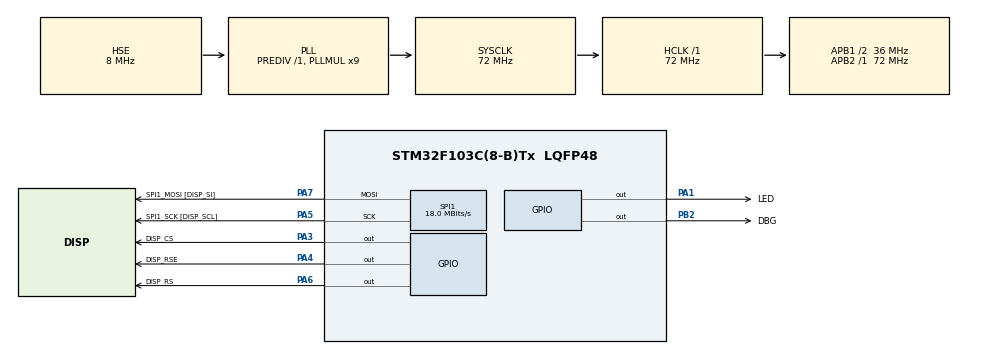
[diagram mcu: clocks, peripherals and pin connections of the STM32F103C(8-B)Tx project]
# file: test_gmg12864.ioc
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Dma.Request0=SPI1_TX
Dma.SPI1_TX.0.Direction=DMA_MEMORY_TO_PERIPH
Dma.SPI1_TX.0.Instance=DMA1_Channel3
Dma.SPI1_TX.0.MemDataAlignment=DMA_MDATAALIGN_BYTE
Dma.SPI1_TX.0.MemInc=DMA_MINC_ENABLE
Dma.SPI1_TX.0.Mode=DMA_NORMAL
Dma.SPI1_TX.0.PeriphDataAlignment=DMA_PDATAALIGN_BYTE
Dma.SPI1_TX.0.PeriphInc=DMA_PINC_DISABLE
Dma.SPI1_TX.0.Priority=DMA_PRIORITY_LOW
Mcu.Family=STM32F1
Mcu.Name=STM32F103C(8-B)Tx
Mcu.Package=LQFP48
NVIC.DMA1_Channel3_IRQn=true\:0\:0\:false\:false\:true\:false\:true\:true
NVIC.PriorityGroup=NVIC_PRIORITYGROUP_4
PA1.GPIO_Label=LED
PA1.Signal=GPIO_Output
PA13.Mode=Serial_Wire
PA13.Signal=SYS_JTMS-SWDIO
PA14.Mode=Serial_Wire
PA14.Signal=SYS_JTCK-SWCLK
PA3.GPIO_Label=DISP_CS
PA3.Signal=GPIO_Output
PA4.GPIO_Label=DISP_RSE
PA4.Signal=GPIO_Output
PA5.GPIO_Label=SPI1_SCK [DISP_SCL]
PA5.Mode=TX_Only_Simplex_Unidirect_Master
PA5.Signal=SPI1_SCK
PA6.GPIO_Label=DISP_RS
PA6.Signal=GPIO_Output
PA7.GPIO_Label=SPI1_MOSI [DISP_SI]
PA7.Mode=TX_Only_Simplex_Unidirect_Master
PA7.Signal=SPI1_MOSI
PB2.GPIO_Label=DBG
PB2.Signal=GPIO_Output
PD0-OSC_IN.Mode=HSE-External-Oscillator
PD0-OSC_IN.Signal=RCC_OSC_IN
PD1-OSC_OUT.Mode=HSE-External-Oscillator
PD1-OSC_OUT.Signal=RCC_OSC_OUT
ProjectManager.HeapSize=0x200
ProjectManager.StackSize=0x400
ProjectManager.TargetToolchain=Makefile
RCC.AHBFreq_Value=72000000
RCC.APB1CLKDivider=RCC_HCLK_DIV2
RCC.APB1Freq_Value=36000000
RCC.APB1TimFreq_Value=72000000
RCC.APB2Freq_Value=72000000
RCC.APB2TimFreq_Value=72000000
RCC.HCLKFreq_Value=72000000
RCC.PLLMUL=RCC_PLL_MUL9
RCC.PLLSourceVirtual=RCC_PLLSOURCE_HSE
RCC.SYSCLKFreq_VALUE=72000000
RCC.SYSCLKSource=RCC_SYSCLKSOURCE_PLLCLK
RCC.USBFreq_Value=72000000
SPI1.BaudRatePrescaler=SPI_BAUDRATEPRESCALER_4
SPI1.CalculateBaudRate=18.0 MBits/s
SPI1.Direction=SPI_DIRECTION_2LINES
SPI1.Mode=SPI_MODE_MASTER
SPI1.VirtualType=VM_MASTER
TIM1.Period=65535
TIM1.Prescaler=15
VP_TIM1_VS_ClockSourceINT.Mode=Internal
board=custom

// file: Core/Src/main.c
/* USER CODE BEGIN Header */
/**
  ******************************************************************************
  * @file           : main.c
  * @brief          : Main program body
  ******************************************************************************
  * @attention
  *
  * Copyright (c) 2022 STMicroelectronics.
  * All rights reserved.
  *
  * This software is licensed under terms that can be found in the LICENSE file
  * in the root directory of this software component.
  * If no LICENSE file comes with this software, it is provided AS-IS.
  *
  ******************************************************************************
  */
/* USER CODE END Header */
#include "main.h"
#include "dma.h"
#include "spi.h"
#include "tim.h"
#include "gpio.h"

/* USER CODE BEGIN Includes */
#include <stdio.h>
#include <stdlib.h>
#include <stdbool.h>
#include <string.h>

#include "display_gmg12864.h"
#include "disp_draw.h"

/* USER CODE END Includes */

/* USER CODE BEGIN PTD */
typedef struct dt_t {
  uint16_t tmr_bfr[8];
  uint32_t fps;
} dt_t;
/* USER CODE END PTD */

void SystemClock_Config(void);
/* USER CODE BEGIN PFP */
static uint8_t disp_bfr[DISP_WIDTH * DISP_HEIGHT / 8];
static dt_t dt;

uint32_t timer_until(uint32_t *timer, uint32_t period_ms)
{
  uint32_t timer_1ms = HAL_GetTick();
  return (timer_1ms - *timer >= period_ms) ? (*timer = timer_1ms) : 0;
}

uint16_t timer_us_reset(void)
{
  uint16_t result = TIM1->CNT;
  TIM1->CNT = 0;
  return result;
}

static void disp_write_spi_cb(uint8_t * bfr, uint16_t length)
{
  HAL_GPIO_WritePin(DISP_CS_GPIO_Port, DISP_CS_Pin, GPIO_PIN_RESET);
  HAL_SPI_Transmit(&hspi1, bfr, length, 1000);
  HAL_GPIO_WritePin(DISP_CS_GPIO_Port, DISP_CS_Pin, GPIO_PIN_SET);
}

static void disp_set_pin_cb(display_gmg12864_pins_t * pins)
{
  GPIO_PinState states[] = {GPIO_PIN_RESET, GPIO_PIN_SET};
  HAL_GPIO_WritePin(DISP_RSE_GPIO_Port, DISP_RSE_Pin, states[pins->pin_reset] );
  HAL_GPIO_WritePin(DISP_RS_GPIO_Port, DISP_RS_Pin, states[pins->pin_data_cmd] );
}

#define clear_disp_bfr(X) memset(X,0,sizeof(disp_bfr))
static void update_disp_bfr(uint8_t * bfr, dt_t *dt)
{
  clear_disp_bfr(bfr);

  static int x=DISP_WIDTH/2, y=DISP_HEIGHT/2, dx=1, dy=1, r_circle=10;
  x+=dx; y+=dy;
  if (x>=DISP_WIDTH-r_circle-1 || x<=r_circle) dx=-dx;
  if (y>=DISP_HEIGHT-r_circle-1 || y<=r_circle) dy=-dy;
  for (int r=1; r<r_circle; r++)
    disp_draw_circle(disp_bfr, x, y, r);

  static char str[16] = {0}, cnt;
  sprintf(str,"fps=%d", dt->fps);
  disp_draw_str_simple(disp_bfr, str, strlen(str), 0, 0);

  if (cnt++ & 1) disp_draw_pixel(disp_bfr, DISP_WIDTH-1, DISP_HEIGHT-1);
}

/* USER CODE END PFP */

int main(void)
{

  /* MCU Configuration--------------------------------------------------------*/

  /* Reset of all peripherals, Initializes the Flash interface and the Systick. */
  HAL_Init();

  /* Configure the system clock */
  SystemClock_Config();

  /* Initialize all configured peripherals */
  MX_GPIO_Init();
  MX_DMA_Init();
  MX_SPI1_Init();
  MX_TIM1_Init();
  /* USER CODE BEGIN 2 */
  uint16_t pre = (HAL_RCC_GetHCLKFreq() / 1000000UL)-1;
  __HAL_TIM_SET_PRESCALER(&htim1, pre);
  HAL_TIM_Base_Start(&htim1);

  static display_gmg12864_t disp_drv = {
    .delay_ms_cb = HAL_Delay,
    .write_spi_cb = disp_write_spi_cb,
    .set_display_pin_cb = disp_set_pin_cb,
    .bfr = disp_bfr,
    .bfr_size = sizeof(disp_bfr)
  };

  display_gmg12864_init(&disp_drv);
  /* USER CODE END 2 */

  /* Infinite loop */
  /* USER CODE BEGIN WHILE */
  static uint32_t tmr_led = 0, fps_temp, fps;

  HAL_GPIO_WritePin(LED_GPIO_Port, LED_Pin, 1);

  while (1)
  {
    // HAL_PWR_EnterSLEEPMode(PWR_MAINREGULATOR_ON, PWR_SLEEPENTRY_WFI);

    if (timer_until(&tmr_led, 1000))
    {
      HAL_GPIO_TogglePin(LED_GPIO_Port, LED_Pin);
      dt.fps = fps_temp;
      fps_temp = 0;
    }

    fps_temp++;

    {
      update_disp_bfr(disp_bfr, &dt);

      HAL_GPIO_WritePin(DBG_GPIO_Port, DBG_Pin, 1);
      display_gmg12864_print();
      HAL_GPIO_WritePin(DBG_GPIO_Port, DBG_Pin, 0);
    }

    /* USER CODE END WHILE */

  }
}

void SystemClock_Config(void)
{
  RCC_OscInitTypeDef RCC_OscInitStruct = {0};
  RCC_ClkInitTypeDef RCC_ClkInitStruct = {0};

  /** Initializes the RCC Oscillators according to the specified parameters
  * in the RCC_OscInitTypeDef structure.
  */
  RCC_OscInitStruct.OscillatorType = RCC_OSCILLATORTYPE_HSE;
  RCC_OscInitStruct.HSEState = RCC_HSE_ON;
  RCC_OscInitStruct.HSEPredivValue = RCC_HSE_PREDIV_DIV1;
  RCC_OscInitStruct.HSIState = RCC_HSI_ON;
  RCC_OscInitStruct.PLL.PLLState = RCC_PLL_ON;
  RCC_OscInitStruct.PLL.PLLSource = RCC_PLLSOURCE_HSE;
  RCC_OscInitStruct.PLL.PLLMUL = RCC_PLL_MUL9;
  if (HAL_RCC_OscConfig(&RCC_OscInitStruct) != HAL_OK)
  {
    Error_Handler();
  }

  /** Initializes the CPU, AHB and APB buses clocks
  */
  RCC_ClkInitStruct.ClockType = RCC_CLOCKTYPE_HCLK|RCC_CLOCKTYPE_SYSCLK
                              |RCC_CLOCKTYPE_PCLK1|RCC_CLOCKTYPE_PCLK2;
  RCC_ClkInitStruct.SYSCLKSource = RCC_SYSCLKSOURCE_PLLCLK;
  RCC_ClkInitStruct.AHBCLKDivider = RCC_SYSCLK_DIV1;
  RCC_ClkInitStruct.APB1CLKDivider = RCC_HCLK_DIV2;
  RCC_ClkInitStruct.APB2CLKDivider = RCC_HCLK_DIV1;

  if (HAL_RCC_ClockConfig(&RCC_ClkInitStruct, FLASH_LATENCY_2) != HAL_OK)
  {
    Error_Handler();
  }
}

void Error_Handler(void)
{
  __disable_irq();
  while (1)
  {
  }
}
